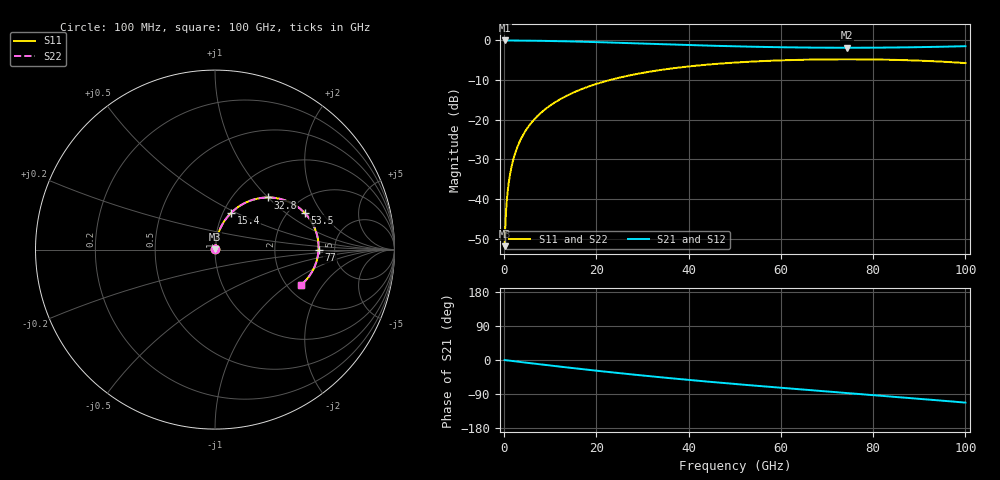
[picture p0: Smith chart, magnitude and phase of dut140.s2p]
! Touchstone file exported from HFSS 2026.1.0
!  File:  C:/ffzhzh/LocalFiles/Ansys_Project_Files/temp_train_RDL_140_1783499739_41296.aedt
!  Generated:  04:36:51 PM Jul  8, 2026
!  Design:  RDL
!  Project:  temp_train_RDL_140_1783499739_41296
! Variables:
!  h_bsmrdl = 2um
!  h_ox = 20um
!  h_rdl = 5um
!  h_sub = 80um
!  h_tmrdl = 3.8um
!  h_tsv = 80um
!  h_via = 3um
!  l_bsmrdl = 300um
!  l_sub = 777.35um
!  l_tmrdl = 377.35um
!  m_sub = 200um
!  pitch = 49.44um
!  r_tsv = 6um
!  s_tmrdl = 10um
!  w_bsmrdl = 18um
!  w_sub = 500um
!  w_tmrdl = 20.61um
!  x_tsv_center1 = 387.655um
!  x_tsv_center2 = 705.655um
!  x_tsv_center3 = 1103.615um
!  x_tsv_center4 = 1421.615um
!  x_tsv_center5 = 1819.575um
!  x_tsv_center6 = 2137.575um
# GHz S MA R 50.000000
! Terminal data exported
! Port[1] = TM_RDL1_1_T1
! Port[2] = TM_RDL1_1_T2
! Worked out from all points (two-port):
!   1000 points, 100 MHz to 100 GHz, reference 50 ohm
!   highest |S21| = -0.02 dB at 100 MHz (marker M1); lowest = -1.9 dB at 74.4 GHz (marker M2)
!   |S21| within 3 dB of the highest: start of sweep to end of sweep
!   lowest |S11| = -51.9 dB at 100 MHz (marker M3), VSWR 1.01, Z = 50.2 + j0.171 ohm
!   |S11| at or under -10 dB: start of sweep to 22.92 GHz
!   |S22| runs from -51.9 to -4.8 dB; largest |S21 - S12| = 1.5e-14
!   S11 on the Smith chart (normalised r, x): 100 MHz: 1.00, +0.00; 15.4 GHz: 1.09, +0.47; 32.8 GHz: 1.43, +1.00; 53.5 GHz: 2.42, +1.40; 77 GHz: 3.73, -0.01; 100 GHz: 2.35, -1.27
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0.1  0.002539 42.2  0.9981 -0.2  0.9981 -0.2  0.002539 42.2
! Gamma 0 0 0 0
! Port Impedance 50 0 50 0
0.8  0.01302 78.7  0.9976 -1.2  0.9976 -1.2  0.01302 78.7
1.1  0.01766 80.6  0.9975 -1.6  0.9975 -1.6  0.01766 80.6
1.4  0.02233 81.6  0.9973 -2.1  0.9973 -2.1  0.02233 81.6
1.9  0.03011 82.3  0.997 -2.8  0.997 -2.8  0.03011 82.3
2.4  0.03789 82.3  0.9966 -3.6  0.9966 -3.6  0.03789 82.3
3.7  0.05797 81.4  0.9951 -5.5  0.9951 -5.5  0.05797 81.4
5.7  0.08832 79.0  0.9921 -8.4  0.9921 -8.4  0.08832 79.0
8.2  0.1252 75.7  0.9871 -12.0  0.9871 -12.0  0.1252 75.7
11.4  0.1707 71.5  0.9793 -16.5  0.9793 -16.5  0.1707 71.5
15.4  0.2247 66.2  0.9675 -22.0  0.9675 -22.0  0.2247 66.2
16.8  0.2428 64.3  0.9629 -23.9  0.9629 -23.9  0.2428 64.4
24  0.3282 55.1  0.9364 -33.4  0.9364 -33.4  0.3282 55.2
32.8  0.414 44.5  0.9014 -44.3  0.9014 -44.3  0.414 44.6
33.4  0.4192 43.8  0.899 -45.0  0.899 -45.0  0.4191 43.9
50.1  0.5256 25.8  0.8416 -63.3  0.8416 -63.3  0.5255 25.8
53.5  0.5395 22.3  0.8329 -66.8  0.8329 -66.8  0.5395 22.4
66.7  0.5726 9.6  0.8109 -79.8  0.8109 -79.8  0.5725 9.6
74.4  0.5775 2.3  0.8074 -87.1  0.8074 -87.1  0.5774 2.4
77  0.5768 -0.1  0.8078 -89.6  0.8078 -89.6  0.5768 -0.1
83.4  0.5702 -6.2  0.8122 -95.7  0.8122 -95.7  0.5701 -6.1
100  0.5175 -22.6  0.8451 -112.5  0.8451 -112.5  0.5174 -22.5
